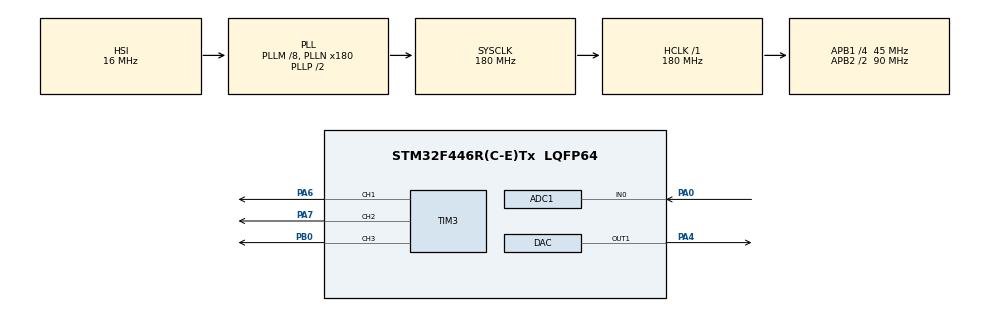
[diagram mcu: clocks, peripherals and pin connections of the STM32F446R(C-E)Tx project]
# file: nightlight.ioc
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ADC1.Channel-1\#ChannelRegularConversion=ADC_CHANNEL_0
ADC1.ContinuousConvMode=DISABLE
ADC1.DMAContinuousRequests=ENABLE
ADC1.ExternalTrigConv=ADC_EXTERNALTRIGCONV_T2_TRGO
ADC1.NbrOfConversionFlag=1
ADC1.Rank-1\#ChannelRegularConversion=1
ADC1.SamplingTime-1\#ChannelRegularConversion=ADC_SAMPLETIME_480CYCLES
ADC1.master=1
Dma.ADC1.0.Direction=DMA_PERIPH_TO_MEMORY
Dma.ADC1.0.FIFOMode=DMA_FIFOMODE_DISABLE
Dma.ADC1.0.Instance=DMA2_Stream0
Dma.ADC1.0.MemDataAlignment=DMA_MDATAALIGN_HALFWORD
Dma.ADC1.0.MemInc=DMA_MINC_ENABLE
Dma.ADC1.0.Mode=DMA_CIRCULAR
Dma.ADC1.0.PeriphDataAlignment=DMA_PDATAALIGN_HALFWORD
Dma.ADC1.0.PeriphInc=DMA_PINC_DISABLE
Dma.ADC1.0.Priority=DMA_PRIORITY_HIGH
Dma.Request0=ADC1
Mcu.Family=STM32F4
Mcu.Name=STM32F446R(C-E)Tx
Mcu.Package=LQFP64
NVIC.DMA2_Stream0_IRQn=true\:0\:0\:false\:false\:true\:false\:true\:true
NVIC.PriorityGroup=NVIC_PRIORITYGROUP_0
PA0-WKUP.Signal=ADCx_IN0
PA13.Mode=Serial_Wire
PA13.Signal=SYS_JTMS-SWDIO
PA14.Mode=Serial_Wire
PA14.Signal=SYS_JTCK-SWCLK
PA4.Signal=COMP_DAC1_group
PA6.Signal=S_TIM3_CH1
PA7.Signal=S_TIM3_CH2
PB0.Signal=S_TIM3_CH3
PH0-OSC_IN.Mode=HSE-External-Clock-Source
PH0-OSC_IN.Signal=RCC_OSC_IN
PH1-OSC_OUT.Mode=HSE-External-Clock-Source
PH1-OSC_OUT.Signal=RCC_OSC_OUT
ProjectManager.HeapSize=0x200
ProjectManager.StackSize=0x400
ProjectManager.TargetToolchain=STM32CubeIDE
RCC.AHBFreq_Value=180000000
RCC.APB1CLKDivider=RCC_HCLK_DIV4
RCC.APB1Freq_Value=45000000
RCC.APB1TimFreq_Value=90000000
RCC.APB2CLKDivider=RCC_HCLK_DIV2
RCC.APB2Freq_Value=90000000
RCC.APB2TimFreq_Value=180000000
RCC.CortexFreq_Value=180000000
RCC.FLatency-AdvancedSettings=FLASH_LATENCY_5
RCC.HCLKFreq_Value=180000000
RCC.HSE_VALUE=8000000
RCC.HSI_VALUE=16000000
RCC.LSE_VALUE=32768
RCC.PLLM=8
RCC.PLLN=180
RCC.SYSCLKFreq_VALUE=180000000
RCC.SYSCLKSource=RCC_SYSCLKSOURCE_PLLCLK
RCC.USBFreq_Value=180000000
RCC.VCOOutputFreq_Value=360000000
SH.ADCx_IN0.0=ADC1_IN0,IN0
SH.COMP_DAC1_group.0=DAC_OUT1,DAC_OUT1
SH.S_TIM3_CH1.0=TIM3_CH1,PWM Generation1 CH1
SH.S_TIM3_CH2.0=TIM3_CH2,PWM Generation2 CH2
SH.S_TIM3_CH3.0=TIM3_CH3,PWM Generation3 CH3
TIM2.AutoReloadPreload=TIM_AUTORELOAD_PRELOAD_ENABLE
TIM2.Period=999
TIM2.Prescaler=74
TIM2.TIM_MasterOutputTrigger=TIM_TRGO_UPDATE
TIM3.Channel-PWM\ Generation1\ CH1=TIM_CHANNEL_1
TIM3.Channel-PWM\ Generation2\ CH2=TIM_CHANNEL_2
TIM3.Channel-PWM\ Generation3\ CH3=TIM_CHANNEL_3
VP_TIM2_VS_ClockSourceINT.Mode=Internal
VP_TIM3_VS_ClockSourceINT.Mode=Internal
board=NUCLEO-F446RE

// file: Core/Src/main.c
/* USER CODE BEGIN Header */
/**
  ******************************************************************************
  * @file           : main.c
  * @brief          : Main program body
  ******************************************************************************
  * @attention
  *
  * Copyright (c) 2026 STMicroelectronics.
  * All rights reserved.
  *
  * This software is licensed under terms that can be found in the LICENSE file
  * in the root directory of this software component.
  * If no LICENSE file comes with this software, it is provided AS-IS.
  *
  ******************************************************************************
  */
/* USER CODE END Header */
#include "main.h"

/* USER CODE BEGIN Includes */
#include <math.h>
/* USER CODE END Includes */

/* USER CODE BEGIN PD */
#define ADC_BUFFER_LEN   120U
#define HALF_LEN      (ADC_BUFFER_LEN / 2U)
#define R_DIV_OHMS    15000.0f
#define R_BRIGHT_OHMS   2000.0f
#define R_DARK_OHMS     80000.0f
#define PWM_MAX         65535.0f
#define ENABLE_DAC_SELFTEST  1
#define ST_N                 9U
/* USER CODE END PD */

ADC_HandleTypeDef hadc1;
DMA_HandleTypeDef hdma_adc1;

DAC_HandleTypeDef hdac;

TIM_HandleTypeDef htim2;
TIM_HandleTypeDef htim3;

/* USER CODE BEGIN PV */
static uint16_t adc_buffer[ADC_BUFFER_LEN];
volatile uint16_t adc_avg     = 0;
volatile float    pr_ohms    = 0.0f;
volatile uint32_t adc_updates = 0;
static float ln_r_bright;
static float ln_r_span;
volatile float darkness = 0.0f;

#if ENABLE_DAC_SELFTEST
typedef struct {
    uint16_t code;
    uint16_t measured;
    int16_t  error;
    uint16_t tol;
    uint8_t  pass;
} st_result_t;

static const uint16_t codes[ST_N] = {300, 750, 1200, 1650, 2100, 2550, 3000, 3450, 3800};
volatile st_result_t ST_results[ST_N];
volatile int8_t st_pass = -1;
static uint32_t st_idx = 0;
static uint8_t  st_pending = 0;
#endif

/* USER CODE END PV */

void SystemClock_Config(void);
static void MX_GPIO_Init(void);
static void MX_DMA_Init(void);
static void MX_ADC1_Init(void);
static void MX_DAC_Init(void);
static void MX_TIM2_Init(void);
static void MX_TIM3_Init(void);

/* USER CODE BEGIN 0 */
#if ENABLE_DAC_SELFTEST
/* Worst-case DAC offset + gain + INL plus ADC TUE, rounded up:
   tol = ceil(21.4 + 0.005 * n) LSB */
static uint16_t st_tolerance(uint16_t n)
{
    return (uint16_t)((21400U + 5U * n + 999U) / 1000U);
}

static void selftest_step(uint16_t measured)
{
    if (st_pending) {
        uint16_t code = codes[st_idx];
        int16_t  err  = (int16_t)((int32_t)measured - (int32_t)code);
        uint16_t tol  = st_tolerance(code);

        ST_results[st_idx].code     = code;
        ST_results[st_idx].measured = measured;
        ST_results[st_idx].error    = err;
        ST_results[st_idx].tol      = tol;
        ST_results[st_idx].pass     = (uint8_t)((err < 0 ? -err : err) <= (int16_t)tol);

        st_idx++;
        st_pending = 0;
    }

    if (st_idx < ST_N) {
        HAL_DAC_SetValue(&hdac, DAC_CHANNEL_1, DAC_ALIGN_12B_R, codes[st_idx]);
        st_pending = 1;
    } else if (st_pass < 0) {
        uint8_t all = 1;
        for (uint32_t i = 0; i < ST_N; i++) all &= st_results[i].pass;
        st_pass = (int8_t)all;
    }
}
#endif

static float stage(float d, int k) /*Select led stage*/
{
    float s = 3.0f * d - (float)k;
    if (s < 0.0f) s = 0.0f;
    if (s > 1.0f) s = 1.0f;
    return s;
}

static void process_half(const uint16_t *src)
{
    uint32_t sum = 0;
    for (uint32_t i = 0; i < HALF_LEN; i++) {
        sum += src[i];
    }
    uint32_t c = (sum + HALF_LEN / 2U) / HALF_LEN;
    if (c < 1U)    c = 1U;
    if (c > 4095U) c = 4095U; /*Keep R finite and positive or else the log blows up*/

	#if ENABLE_DAC_SELFTEST
		selftest_step((uint16_t)c);
		return;
	#endif

    adc_avg = (uint16_t)c; /*view in debug*/
    pr_ohms = R_DIV_OHMS * (float)(4096U - c) / (float)c; /*calculate ohms of pr*/

    float d = (logf(pr_ohms) - ln_r_bright) / ln_r_span; /*calculate normalized brightness*/
    if (d < 0.0f) d = 0.0f;
    if (d > 1.0f) d = 1.0f;
    darkness = d; /*view in debug*/

    __HAL_TIM_SET_COMPARE(&htim3, TIM_CHANNEL_1, (uint32_t)(stage(d, 0) * PWM_MAX + 0.5f));
    __HAL_TIM_SET_COMPARE(&htim3, TIM_CHANNEL_2, (uint32_t)(stage(d, 1) * PWM_MAX + 0.5f));
    __HAL_TIM_SET_COMPARE(&htim3, TIM_CHANNEL_3, (uint32_t)(stage(d, 2) * PWM_MAX + 0.5f));
}

void HAL_ADC_ConvHalfCpltCallback(ADC_HandleTypeDef *hadc)
{
    if (hadc->Instance == ADC1) process_half(&adc_buffer[0]);
}

void HAL_ADC_ConvCpltCallback(ADC_HandleTypeDef *hadc)
{
    if (hadc->Instance == ADC1) process_half(&adc_buffer[HALF_LEN]);
}

/* USER CODE END 0 */

int main(void)
{

  /* MCU Configuration--------------------------------------------------------*/

  /* Reset of all peripherals, Initializes the Flash interface and the Systick. */
  HAL_Init();

  /* Configure the system clock */
  SystemClock_Config();

  /* Initialize all configured peripherals */
  MX_GPIO_Init();
  MX_DMA_Init();
  MX_ADC1_Init();
  MX_DAC_Init();
  MX_TIM2_Init();
  MX_TIM3_Init();
  /* USER CODE BEGIN 2 */
  ln_r_bright = logf(R_BRIGHT_OHMS);
  ln_r_span   = logf(R_DARK_OHMS) - ln_r_bright;

  HAL_DBGMCU_EnableDBGSleepMode();

  HAL_TIM_PWM_Start(&htim3, TIM_CHANNEL_1);
  HAL_TIM_PWM_Start(&htim3, TIM_CHANNEL_2);
  HAL_TIM_PWM_Start(&htim3, TIM_CHANNEL_3);

#if ENABLE_DAC_SELFTEST
  if (HAL_DAC_Start(&hdac, DAC_CHANNEL_1) != HAL_OK) {
      Error_Handler();
  }
#endif

  if (HAL_ADC_Start_DMA(&hadc1, (uint32_t *)adc_buffer, ADC_BUFFER_LEN) != HAL_OK) {
      Error_Handler();
  }
  if (HAL_TIM_Base_Start(&htim2) != HAL_OK) {
      Error_Handler();
  }

  /* USER CODE END 2 */

  /* Infinite loop */
  while (1)
  {

    /* USER CODE BEGIN 3 */
	  __WFI();
  }
  /* USER CODE END 3 */
}

void SystemClock_Config(void)
{
  RCC_OscInitTypeDef RCC_OscInitStruct = {0};
  RCC_ClkInitTypeDef RCC_ClkInitStruct = {0};

  /** Configure the main internal regulator output voltage
  */
  __HAL_RCC_PWR_CLK_ENABLE();
  __HAL_PWR_VOLTAGESCALING_CONFIG(PWR_REGULATOR_VOLTAGE_SCALE1);

  /** Initializes the RCC Oscillators according to the specified parameters
  * in the RCC_OscInitTypeDef structure.
  */
  RCC_OscInitStruct.OscillatorType = RCC_OSCILLATORTYPE_HSI;
  RCC_OscInitStruct.HSIState = RCC_HSI_ON;
  RCC_OscInitStruct.HSICalibrationValue = RCC_HSICALIBRATION_DEFAULT;
  RCC_OscInitStruct.PLL.PLLState = RCC_PLL_ON;
  RCC_OscInitStruct.PLL.PLLSource = RCC_PLLSOURCE_HSI;
  RCC_OscInitStruct.PLL.PLLM = 8;
  RCC_OscInitStruct.PLL.PLLN = 180;
  RCC_OscInitStruct.PLL.PLLP = RCC_PLLP_DIV2;
  RCC_OscInitStruct.PLL.PLLQ = 2;
  RCC_OscInitStruct.PLL.PLLR = 2;
  if (HAL_RCC_OscConfig(&RCC_OscInitStruct) != HAL_OK)
  {
    Error_Handler();
  }

  /** Activate the Over-Drive mode
  */
  if (HAL_PWREx_EnableOverDrive() != HAL_OK)
  {
    Error_Handler();
  }

  /** Initializes the CPU, AHB and APB buses clocks
  */
  RCC_ClkInitStruct.ClockType = RCC_CLOCKTYPE_HCLK|RCC_CLOCKTYPE_SYSCLK
                              |RCC_CLOCKTYPE_PCLK1|RCC_CLOCKTYPE_PCLK2;
  RCC_ClkInitStruct.SYSCLKSource = RCC_SYSCLKSOURCE_PLLCLK;
  RCC_ClkInitStruct.AHBCLKDivider = RCC_SYSCLK_DIV1;
  RCC_ClkInitStruct.APB1CLKDivider = RCC_HCLK_DIV4;
  RCC_ClkInitStruct.APB2CLKDivider = RCC_HCLK_DIV2;

  if (HAL_RCC_ClockConfig(&RCC_ClkInitStruct, FLASH_LATENCY_5) != HAL_OK)
  {
    Error_Handler();
  }
}

static void MX_ADC1_Init(void)
{

  ADC_ChannelConfTypeDef sConfig = {0};

  /** Configure the global features of the ADC (Clock, Resolution, Data Alignment and number of conversion)
  */
  hadc1.Instance = ADC1;
  hadc1.Init.ClockPrescaler = ADC_CLOCK_SYNC_PCLK_DIV4;
  hadc1.Init.Resolution = ADC_RESOLUTION_12B;
  hadc1.Init.ScanConvMode = DISABLE;
  hadc1.Init.ContinuousConvMode = DISABLE;
  hadc1.Init.DiscontinuousConvMode = DISABLE;
  hadc1.Init.ExternalTrigConvEdge = ADC_EXTERNALTRIGCONVEDGE_RISING;
  hadc1.Init.ExternalTrigConv = ADC_EXTERNALTRIGCONV_T2_TRGO;
  hadc1.Init.DataAlign = ADC_DATAALIGN_RIGHT;
  hadc1.Init.NbrOfConversion = 1;
  hadc1.Init.DMAContinuousRequests = ENABLE;
  hadc1.Init.EOCSelection = ADC_EOC_SINGLE_CONV;
  if (HAL_ADC_Init(&hadc1) != HAL_OK)
  {
    Error_Handler();
  }

  sConfig.Channel = ADC_CHANNEL_0;
  sConfig.Rank = 1;
  sConfig.SamplingTime = ADC_SAMPLETIME_480CYCLES;
  if (HAL_ADC_ConfigChannel(&hadc1, &sConfig) != HAL_OK)
  {
    Error_Handler();
  }
  /* USER CODE BEGIN ADC1_Init 2 */
#if ENABLE_DAC_SELFTEST
  sConfig.Channel      = ADC_CHANNEL_4;
  sConfig.Rank         = 1;
  sConfig.SamplingTime = ADC_SAMPLETIME_480CYCLES;
  if (HAL_ADC_ConfigChannel(&hadc1, &sConfig) != HAL_OK)
  {
    Error_Handler();
  }
#endif
  /* USER CODE END ADC1_Init 2 */

}

static void MX_DAC_Init(void)
{

  DAC_ChannelConfTypeDef sConfig = {0};

  /** DAC Initialization
  */
  hdac.Instance = DAC;
  if (HAL_DAC_Init(&hdac) != HAL_OK)
  {
    Error_Handler();
  }

  /** DAC channel OUT1 config
  */
  sConfig.DAC_Trigger = DAC_TRIGGER_NONE;
  sConfig.DAC_OutputBuffer = DAC_OUTPUTBUFFER_ENABLE;
  if (HAL_DAC_ConfigChannel(&hdac, &sConfig, DAC_CHANNEL_1) != HAL_OK)
  {
    Error_Handler();
  }

}

static void MX_TIM2_Init(void)
{

  TIM_ClockConfigTypeDef sClockSourceConfig = {0};
  TIM_MasterConfigTypeDef sMasterConfig = {0};

  htim2.Instance = TIM2;
  htim2.Init.Prescaler = 74;
  htim2.Init.CounterMode = TIM_COUNTERMODE_UP;
  htim2.Init.Period = 999;
  htim2.Init.ClockDivision = TIM_CLOCKDIVISION_DIV1;
  htim2.Init.AutoReloadPreload = TIM_AUTORELOAD_PRELOAD_ENABLE;
  if (HAL_TIM_Base_Init(&htim2) != HAL_OK)
  {
    Error_Handler();
  }
  sClockSourceConfig.ClockSource = TIM_CLOCKSOURCE_INTERNAL;
  if (HAL_TIM_ConfigClockSource(&htim2, &sClockSourceConfig) != HAL_OK)
  {
    Error_Handler();
  }
  sMasterConfig.MasterOutputTrigger = TIM_TRGO_UPDATE;
  sMasterConfig.MasterSlaveMode = TIM_MASTERSLAVEMODE_DISABLE;
  if (HAL_TIMEx_MasterConfigSynchronization(&htim2, &sMasterConfig) != HAL_OK)
  {
    Error_Handler();
  }

}

static void MX_TIM3_Init(void)
{

  TIM_ClockConfigTypeDef sClockSourceConfig = {0};
  TIM_MasterConfigTypeDef sMasterConfig = {0};
  TIM_OC_InitTypeDef sConfigOC = {0};

  htim3.Instance = TIM3;
  htim3.Init.Prescaler = 0;
  htim3.Init.CounterMode = TIM_COUNTERMODE_UP;
  htim3.Init.Period = 65535;
  htim3.Init.ClockDivision = TIM_CLOCKDIVISION_DIV1;
  htim3.Init.AutoReloadPreload = TIM_AUTORELOAD_PRELOAD_DISABLE;
  if (HAL_TIM_Base_Init(&htim3) != HAL_OK)
  {
    Error_Handler();
  }
  sClockSourceConfig.ClockSource = TIM_CLOCKSOURCE_INTERNAL;
  if (HAL_TIM_ConfigClockSource(&htim3, &sClockSourceConfig) != HAL_OK)
  {
    Error_Handler();
  }
  if (HAL_TIM_PWM_Init(&htim3) != HAL_OK)
  {
    Error_Handler();
  }
  sMasterConfig.MasterOutputTrigger = TIM_TRGO_RESET;
  sMasterConfig.MasterSlaveMode = TIM_MASTERSLAVEMODE_DISABLE;
  if (HAL_TIMEx_MasterConfigSynchronization(&htim3, &sMasterConfig) != HAL_OK)
  {
    Error_Handler();
  }
  sConfigOC.OCMode = TIM_OCMODE_PWM1;
  sConfigOC.Pulse = 0;
  sConfigOC.OCPolarity = TIM_OCPOLARITY_HIGH;
  sConfigOC.OCFastMode = TIM_OCFAST_DISABLE;
  if (HAL_TIM_PWM_ConfigChannel(&htim3, &sConfigOC, TIM_CHANNEL_1) != HAL_OK)
  {
    Error_Handler();
  }
  if (HAL_TIM_PWM_ConfigChannel(&htim3, &sConfigOC, TIM_CHANNEL_2) != HAL_OK)
  {
    Error_Handler();
  }
  if (HAL_TIM_PWM_ConfigChannel(&htim3, &sConfigOC, TIM_CHANNEL_3) != HAL_OK)
  {
    Error_Handler();
  }
  HAL_TIM_MspPostInit(&htim3);

}

static void MX_DMA_Init(void)
{

  /* DMA controller clock enable */
  __HAL_RCC_DMA2_CLK_ENABLE();

  /* DMA interrupt init */
  /* DMA2_Stream0_IRQn interrupt configuration */
  HAL_NVIC_SetPriority(DMA2_Stream0_IRQn, 0, 0);
  HAL_NVIC_EnableIRQ(DMA2_Stream0_IRQn);

}

static void MX_GPIO_Init(void)
{

  /* GPIO Ports Clock Enable */
  __HAL_RCC_GPIOH_CLK_ENABLE();
  __HAL_RCC_GPIOA_CLK_ENABLE();
  __HAL_RCC_GPIOB_CLK_ENABLE();

}

void Error_Handler(void)
{
  __disable_irq();
  while (1)
  {
  }
}
